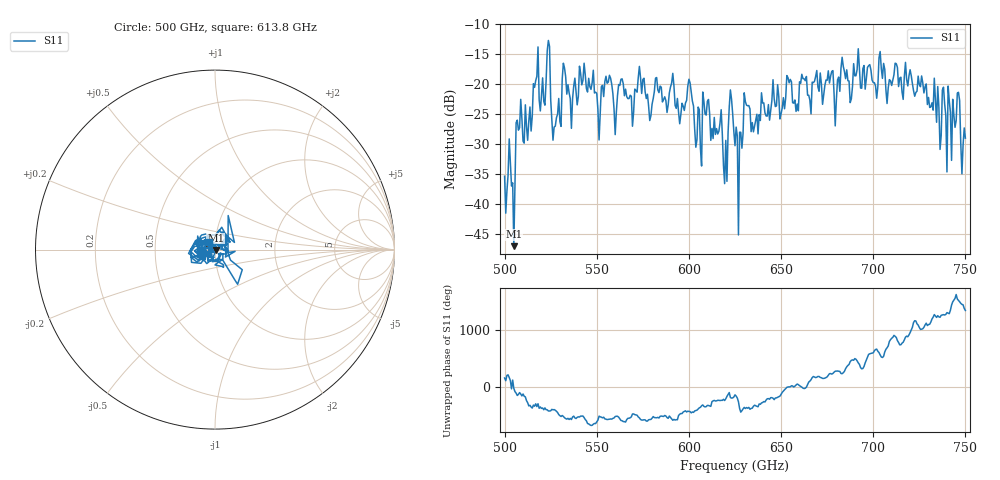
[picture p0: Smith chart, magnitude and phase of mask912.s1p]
!Created with skrf (http://scikit-rf.org).
# GHz S MA R 50.0
!freq magS11 angS11
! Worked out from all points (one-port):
!   401 points, 500 GHz to 750 GHz, reference 50 ohm
!   lowest |S11| = -47.1 dB at 505 GHz (marker M1), VSWR 1.01, Z = 50.4 - j0.176 ohm
!   |S11| at or under -10 dB: start of sweep to end of sweep
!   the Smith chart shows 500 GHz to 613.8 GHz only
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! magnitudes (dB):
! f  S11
! 500 GHz  -35.4
! 505 GHz  -47.1
! 507.5 GHz  -27.7
! 513.8 GHz  -23.9
! 516.9 GHz  -19.4
! 520.6 GHz  -19.0
! 523.8 GHz  -12.7
! 526.9 GHz  -27.2
! 531.2 GHz  -19.2
! 541.9 GHz  -20.2
! 550.6 GHz  -24.3
! 556.2 GHz  -19.7
! 560 GHz  -28.5
! 562.5 GHz  -20.3
! 593.8 GHz  -22.4
! 600.6 GHz  -19.8
! 603.1 GHz  -27.6
! 608.8 GHz  -25.0
! 619.4 GHz  -36.7
! 622.5 GHz  -21.0
! 625 GHz  -30.3
! 628.1 GHz  -28.1
! 631.2 GHz  -23.6
! 635 GHz  -28.0
! 656.2 GHz  -23.1
! 687.5 GHz  -23.1
! 718.8 GHz  -20.3
! 750 GHz  -29.1
